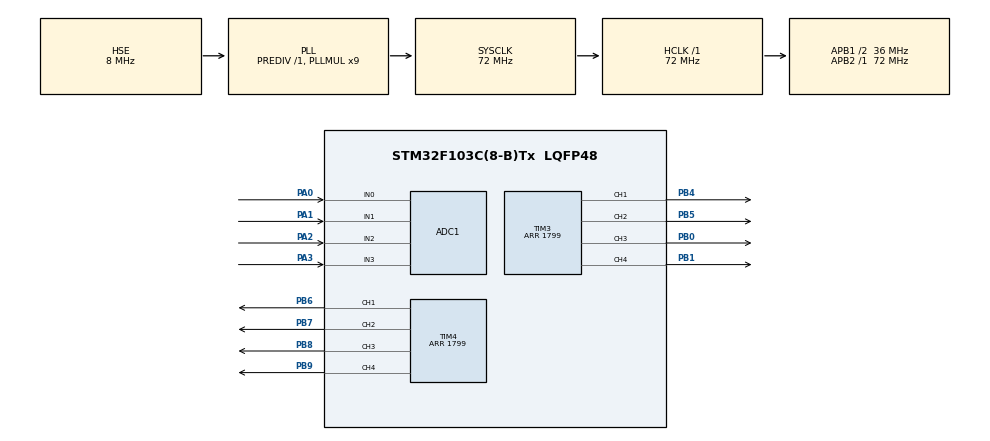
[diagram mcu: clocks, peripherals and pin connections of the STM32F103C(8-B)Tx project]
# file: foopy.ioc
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ADC1.Channel-0\#ChannelRegularConversion=ADC_CHANNEL_0
ADC1.Channel-4\#ChannelRegularConversion=ADC_CHANNEL_1
ADC1.Channel-5\#ChannelRegularConversion=ADC_CHANNEL_2
ADC1.Channel-6\#ChannelRegularConversion=ADC_CHANNEL_3
ADC1.ContinuousConvMode=ENABLE
ADC1.DataAlign=ADC_DATAALIGN_RIGHT
ADC1.DiscontinuousConvMode=DISABLE
ADC1.EnableAnalogWatchDog=false
ADC1.EnableRegularConversion=ENABLE
ADC1.ExternalTrigConv=ADC_SOFTWARE_START
ADC1.InjNumberOfConversion=0
ADC1.NbrOfConversion=4
ADC1.NbrOfConversionFlag=1
ADC1.Rank-0\#ChannelRegularConversion=1
ADC1.Rank-4\#ChannelRegularConversion=2
ADC1.Rank-5\#ChannelRegularConversion=3
ADC1.Rank-6\#ChannelRegularConversion=4
ADC1.SamplingTime-0\#ChannelRegularConversion=ADC_SAMPLETIME_28CYCLES_5
ADC1.SamplingTime-4\#ChannelRegularConversion=ADC_SAMPLETIME_28CYCLES_5
ADC1.SamplingTime-5\#ChannelRegularConversion=ADC_SAMPLETIME_28CYCLES_5
ADC1.SamplingTime-6\#ChannelRegularConversion=ADC_SAMPLETIME_28CYCLES_5
ADC1.ScanConvMode=ADC_SCAN_ENABLE
ADC1.master=1
Dma.ADC1.0.Direction=DMA_PERIPH_TO_MEMORY
Dma.ADC1.0.Instance=DMA1_Channel1
Dma.ADC1.0.MemDataAlignment=DMA_MDATAALIGN_WORD
Dma.ADC1.0.MemInc=DMA_MINC_ENABLE
Dma.ADC1.0.Mode=DMA_CIRCULAR
Dma.ADC1.0.PeriphDataAlignment=DMA_PDATAALIGN_WORD
Dma.ADC1.0.PeriphInc=DMA_PINC_DISABLE
Dma.ADC1.0.Priority=DMA_PRIORITY_LOW
Dma.Request0=ADC1
Mcu.Family=STM32F1
Mcu.Name=STM32F103C(8-B)Tx
Mcu.Package=LQFP48
NVIC.DMA1_Channel1_IRQn=true\:0\:0\:false\:false\:true\:false
NVIC.PriorityGroup=NVIC_PRIORITYGROUP_4
PA0-WKUP.Signal=ADCx_IN0
PA1.Signal=ADCx_IN1
PA13.Mode=Serial_Wire
PA13.Signal=SYS_JTMS-SWDIO
PA14.Mode=Serial_Wire
PA14.Signal=SYS_JTCK-SWCLK
PA2.Signal=ADCx_IN2
PA3.Signal=ADCx_IN3
PB0.Signal=S_TIM3_CH3
PB1.Signal=S_TIM3_CH4
PB4.Signal=S_TIM3_CH1
PB5.Signal=S_TIM3_CH2
PB6.Signal=S_TIM4_CH1
PB7.Signal=S_TIM4_CH2
PB8.Signal=S_TIM4_CH3
PB9.Signal=S_TIM4_CH4
PD0-OSC_IN.Mode=HSE-External-Oscillator
PD0-OSC_IN.Signal=RCC_OSC_IN
PD1-OSC_OUT.Mode=HSE-External-Oscillator
PD1-OSC_OUT.Signal=RCC_OSC_OUT
ProjectManager.HeapSize=0x200
ProjectManager.StackSize=0x400
ProjectManager.TargetToolchain=TrueSTUDIO
RCC.ADCPresc=RCC_ADCPCLK2_DIV6
RCC.AHBFreq_Value=72000000
RCC.APB1CLKDivider=RCC_HCLK_DIV2
RCC.APB1Freq_Value=36000000
RCC.APB1TimFreq_Value=72000000
RCC.APB2Freq_Value=72000000
RCC.APB2TimFreq_Value=72000000
RCC.HCLKFreq_Value=72000000
RCC.PLLMUL=RCC_PLL_MUL9
RCC.PLLSourceVirtual=RCC_PLLSOURCE_HSE
RCC.SYSCLKFreq_VALUE=72000000
RCC.SYSCLKSource=RCC_SYSCLKSOURCE_PLLCLK
RCC.USBFreq_Value=72000000
SH.ADCx_IN0.0=ADC1_IN0,IN0
SH.ADCx_IN1.0=ADC1_IN1,IN1
SH.ADCx_IN2.0=ADC1_IN2,IN2
SH.ADCx_IN3.0=ADC1_IN3,IN3
SH.S_TIM3_CH1.0=TIM3_CH1,PWM Generation1 CH1
SH.S_TIM3_CH2.0=TIM3_CH2,PWM Generation2 CH2
SH.S_TIM3_CH3.0=TIM3_CH3,PWM Generation3 CH3
SH.S_TIM3_CH4.0=TIM3_CH4,PWM Generation4 CH4
SH.S_TIM4_CH1.0=TIM4_CH1,PWM Generation1 CH1
SH.S_TIM4_CH2.0=TIM4_CH2,PWM Generation2 CH2
SH.S_TIM4_CH3.0=TIM4_CH3,PWM Generation3 CH3
SH.S_TIM4_CH4.0=TIM4_CH4,PWM Generation4 CH4
TIM3.Channel-PWM\ Generation1\ CH1=TIM_CHANNEL_1
TIM3.Channel-PWM\ Generation2\ CH2=TIM_CHANNEL_2
TIM3.Channel-PWM\ Generation3\ CH3=TIM_CHANNEL_3
TIM3.Channel-PWM\ Generation4\ CH4=TIM_CHANNEL_4
TIM3.OCFastMode_PWM-PWM\ Generation1\ CH1=TIM_OCFAST_ENABLE
TIM3.OCFastMode_PWM-PWM\ Generation2\ CH2=TIM_OCFAST_ENABLE
TIM3.OCFastMode_PWM-PWM\ Generation3\ CH3=TIM_OCFAST_ENABLE
TIM3.OCFastMode_PWM-PWM\ Generation4\ CH4=TIM_OCFAST_ENABLE
TIM3.Period=1799
TIM3.Pulse-PWM\ Generation1\ CH1=1360
TIM3.Pulse-PWM\ Generation2\ CH2=1020
TIM3.Pulse-PWM\ Generation4\ CH4=340
TIM4.Channel-PWM\ Generation1\ CH1=TIM_CHANNEL_1
TIM4.Channel-PWM\ Generation2\ CH2=TIM_CHANNEL_2
TIM4.Channel-PWM\ Generation3\ CH3=TIM_CHANNEL_3
TIM4.Channel-PWM\ Generation4\ CH4=TIM_CHANNEL_4
TIM4.OCFastMode_PWM-PWM\ Generation1\ CH1=TIM_OCFAST_ENABLE
TIM4.OCFastMode_PWM-PWM\ Generation2\ CH2=TIM_OCFAST_ENABLE
TIM4.OCFastMode_PWM-PWM\ Generation3\ CH3=TIM_OCFAST_ENABLE
TIM4.OCFastMode_PWM-PWM\ Generation4\ CH4=TIM_OCFAST_ENABLE
TIM4.Period=1799
TIM4.Pulse-PWM\ Generation1\ CH1=1360
TIM4.Pulse-PWM\ Generation2\ CH2=1020
TIM4.Pulse-PWM\ Generation3\ CH3=680
TIM4.Pulse-PWM\ Generation4\ CH4=340
board=custom

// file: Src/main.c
/**
  ******************************************************************************
  * @file           : main.c
  * @brief          : Main program body
  ******************************************************************************
  ** This notice applies to any and all portions of this file
  * that are not between comment pairs USER CODE BEGIN and
  * USER CODE END. Other portions of this file, whether
  * inserted by the user or by software development tools
  * are owned by their respective copyright owners.
  *
  * COPYRIGHT(c) 2018 STMicroelectronics
  *
  * Redistribution and use in source and binary forms, with or without modification,
  * are permitted provided that the following conditions are met:
  *   1. Redistributions of source code must retain the above copyright notice,
  *      this list of conditions and the following disclaimer.
  *   2. Redistributions in binary form must reproduce the above copyright notice,
  *      this list of conditions and the following disclaimer in the documentation
  *      and/or other materials provided with the distribution.
  *   3. Neither the name of STMicroelectronics nor the names of its contributors
  *      may be used to endorse or promote products derived from this software
  *      without specific prior written permission.
  *
  * THIS SOFTWARE IS PROVIDED BY THE COPYRIGHT HOLDERS AND CONTRIBUTORS "AS IS"
  * AND ANY EXPRESS OR IMPLIED WARRANTIES, INCLUDING, BUT NOT LIMITED TO, THE
  * IMPLIED WARRANTIES OF MERCHANTABILITY AND FITNESS FOR A PARTICULAR PURPOSE ARE
  * DISCLAIMED. IN NO EVENT SHALL THE COPYRIGHT HOLDER OR CONTRIBUTORS BE LIABLE
  * FOR ANY DIRECT, INDIRECT, INCIDENTAL, SPECIAL, EXEMPLARY, OR CONSEQUENTIAL
  * DAMAGES (INCLUDING, BUT NOT LIMITED TO, PROCUREMENT OF SUBSTITUTE GOODS OR
  * SERVICES; LOSS OF USE, DATA, OR PROFITS; OR BUSINESS INTERRUPTION) HOWEVER
  * CAUSED AND ON ANY THEORY OF LIABILITY, WHETHER IN CONTRACT, STRICT LIABILITY,
  * OR TORT (INCLUDING NEGLIGENCE OR OTHERWISE) ARISING IN ANY WAY OUT OF THE USE
  * OF THIS SOFTWARE, EVEN IF ADVISED OF THE POSSIBILITY OF SUCH DAMAGE.
  *
  ******************************************************************************
  */
#include "main.h"
#include "stm32f1xx_hal.h"

ADC_HandleTypeDef hadc1;
DMA_HandleTypeDef hdma_adc1;

TIM_HandleTypeDef htim3;
TIM_HandleTypeDef htim4;

/* USER CODE BEGIN PV */
/* Private variables ---------------------------------------------------------*/
#define channels 4
uint32_t adc[channels], adc_buff[channels];
float volts[channels];
const float k = (3.3 / 4095.0) * (4.7 / (4.7+100));
/* USER CODE END PV */

void SystemClock_Config(void);
static void MX_GPIO_Init(void);
static void MX_DMA_Init(void);
static void MX_ADC1_Init(void);
static void MX_TIM3_Init(void);
static void MX_TIM4_Init(void);

void HAL_TIM_MspPostInit(TIM_HandleTypeDef *htim);

/* USER CODE BEGIN PFP */
/* Private function prototypes -----------------------------------------------*/

/* USER CODE END PFP */

/* USER CODE BEGIN 0 */
void HAL_ADC_ConvHalfCpltCallback (ADC_HandleTypeDef *hadc)
{
	for (int i = 0; i < channels; i++){
		volts[i] = (float)adc_buff[i] * k;
	}
}

/* USER CODE END 0 */

int main(void)
{

  /* MCU Configuration----------------------------------------------------------*/

  /* Reset of all peripherals, Initializes the Flash interface and the Systick. */
  HAL_Init();

  /* Configure the system clock */
  SystemClock_Config();

  /* Initialize all configured peripherals */
  MX_GPIO_Init();
  MX_DMA_Init();
  MX_ADC1_Init();
  MX_TIM3_Init();
  MX_TIM4_Init();
  /* USER CODE BEGIN 2 */
  HAL_ADC_Init(&hadc1);
  HAL_ADCEx_Calibration_Start(&hadc1);
  HAL_ADC_Start_DMA(&hadc1,adc_buff,channels);

  HAL_TIM_PWM_Init(&htim3);
  HAL_TIM_PWM_Start(&htim3, TIM_CHANNEL_1);
  HAL_TIM_PWM_Start(&htim3, TIM_CHANNEL_2);
  HAL_TIM_PWM_Start(&htim3, TIM_CHANNEL_3);
  HAL_TIM_PWM_Start(&htim3, TIM_CHANNEL_4);

  HAL_TIM_PWM_Init(&htim4);
  HAL_TIM_PWM_Start(&htim4, TIM_CHANNEL_1);
  HAL_TIM_PWM_Start(&htim4, TIM_CHANNEL_2);
  HAL_TIM_PWM_Start(&htim4, TIM_CHANNEL_3);
  HAL_TIM_PWM_Start(&htim4, TIM_CHANNEL_4);
  /* USER CODE END 2 */

  /* Infinite loop */
  while (1)
  {

  	HAL_Delay(100);
  }

}

void SystemClock_Config(void)
{

  RCC_OscInitTypeDef RCC_OscInitStruct;
  RCC_ClkInitTypeDef RCC_ClkInitStruct;
  RCC_PeriphCLKInitTypeDef PeriphClkInit;

    /**Initializes the CPU, AHB and APB busses clocks
    */
  RCC_OscInitStruct.OscillatorType = RCC_OSCILLATORTYPE_HSE;
  RCC_OscInitStruct.HSEState = RCC_HSE_ON;
  RCC_OscInitStruct.HSEPredivValue = RCC_HSE_PREDIV_DIV1;
  RCC_OscInitStruct.HSIState = RCC_HSI_ON;
  RCC_OscInitStruct.PLL.PLLState = RCC_PLL_ON;
  RCC_OscInitStruct.PLL.PLLSource = RCC_PLLSOURCE_HSE;
  RCC_OscInitStruct.PLL.PLLMUL = RCC_PLL_MUL9;
  if (HAL_RCC_OscConfig(&RCC_OscInitStruct) != HAL_OK)
  {
    _Error_Handler(__FILE__, __LINE__);
  }

    /**Initializes the CPU, AHB and APB busses clocks
    */
  RCC_ClkInitStruct.ClockType = RCC_CLOCKTYPE_HCLK|RCC_CLOCKTYPE_SYSCLK
                              |RCC_CLOCKTYPE_PCLK1|RCC_CLOCKTYPE_PCLK2;
  RCC_ClkInitStruct.SYSCLKSource = RCC_SYSCLKSOURCE_PLLCLK;
  RCC_ClkInitStruct.AHBCLKDivider = RCC_SYSCLK_DIV1;
  RCC_ClkInitStruct.APB1CLKDivider = RCC_HCLK_DIV2;
  RCC_ClkInitStruct.APB2CLKDivider = RCC_HCLK_DIV1;

  if (HAL_RCC_ClockConfig(&RCC_ClkInitStruct, FLASH_LATENCY_2) != HAL_OK)
  {
    _Error_Handler(__FILE__, __LINE__);
  }

  PeriphClkInit.PeriphClockSelection = RCC_PERIPHCLK_ADC;
  PeriphClkInit.AdcClockSelection = RCC_ADCPCLK2_DIV6;
  if (HAL_RCCEx_PeriphCLKConfig(&PeriphClkInit) != HAL_OK)
  {
    _Error_Handler(__FILE__, __LINE__);
  }

    /**Configure the Systick interrupt time
    */
  HAL_SYSTICK_Config(HAL_RCC_GetHCLKFreq()/1000);

    /**Configure the Systick
    */
  HAL_SYSTICK_CLKSourceConfig(SYSTICK_CLKSOURCE_HCLK);

  /* SysTick_IRQn interrupt configuration */
  HAL_NVIC_SetPriority(SysTick_IRQn, 0, 0);
}

/* ADC1 init function */
static void MX_ADC1_Init(void)
{

  ADC_ChannelConfTypeDef sConfig;

    /**Common config
    */
  hadc1.Instance = ADC1;
  hadc1.Init.ScanConvMode = ADC_SCAN_ENABLE;
  hadc1.Init.ContinuousConvMode = ENABLE;
  hadc1.Init.DiscontinuousConvMode = DISABLE;
  hadc1.Init.ExternalTrigConv = ADC_SOFTWARE_START;
  hadc1.Init.DataAlign = ADC_DATAALIGN_RIGHT;
  hadc1.Init.NbrOfConversion = 4;
  if (HAL_ADC_Init(&hadc1) != HAL_OK)
  {
    _Error_Handler(__FILE__, __LINE__);
  }

    /**Configure Regular Channel
    */
  sConfig.Channel = ADC_CHANNEL_0;
  sConfig.Rank = ADC_REGULAR_RANK_1;
  sConfig.SamplingTime = ADC_SAMPLETIME_28CYCLES_5;
  if (HAL_ADC_ConfigChannel(&hadc1, &sConfig) != HAL_OK)
  {
    _Error_Handler(__FILE__, __LINE__);
  }

    /**Configure Regular Channel
    */
  sConfig.Channel = ADC_CHANNEL_1;
  sConfig.Rank = ADC_REGULAR_RANK_2;
  if (HAL_ADC_ConfigChannel(&hadc1, &sConfig) != HAL_OK)
  {
    _Error_Handler(__FILE__, __LINE__);
  }

    /**Configure Regular Channel
    */
  sConfig.Channel = ADC_CHANNEL_2;
  sConfig.Rank = ADC_REGULAR_RANK_3;
  if (HAL_ADC_ConfigChannel(&hadc1, &sConfig) != HAL_OK)
  {
    _Error_Handler(__FILE__, __LINE__);
  }

    /**Configure Regular Channel
    */
  sConfig.Channel = ADC_CHANNEL_3;
  sConfig.Rank = ADC_REGULAR_RANK_4;
  if (HAL_ADC_ConfigChannel(&hadc1, &sConfig) != HAL_OK)
  {
    _Error_Handler(__FILE__, __LINE__);
  }

}

/* TIM3 init function */
static void MX_TIM3_Init(void)
{

  TIM_MasterConfigTypeDef sMasterConfig;
  TIM_OC_InitTypeDef sConfigOC;

  htim3.Instance = TIM3;
  htim3.Init.Prescaler = 0;
  htim3.Init.CounterMode = TIM_COUNTERMODE_UP;
  htim3.Init.Period = 1799;
  htim3.Init.ClockDivision = TIM_CLOCKDIVISION_DIV1;
  htim3.Init.AutoReloadPreload = TIM_AUTORELOAD_PRELOAD_DISABLE;
  if (HAL_TIM_PWM_Init(&htim3) != HAL_OK)
  {
    _Error_Handler(__FILE__, __LINE__);
  }

  sMasterConfig.MasterOutputTrigger = TIM_TRGO_RESET;
  sMasterConfig.MasterSlaveMode = TIM_MASTERSLAVEMODE_DISABLE;
  if (HAL_TIMEx_MasterConfigSynchronization(&htim3, &sMasterConfig) != HAL_OK)
  {
    _Error_Handler(__FILE__, __LINE__);
  }

  sConfigOC.OCMode = TIM_OCMODE_PWM1;
  sConfigOC.Pulse = 1360;
  sConfigOC.OCPolarity = TIM_OCPOLARITY_HIGH;
  sConfigOC.OCFastMode = TIM_OCFAST_ENABLE;
  if (HAL_TIM_PWM_ConfigChannel(&htim3, &sConfigOC, TIM_CHANNEL_1) != HAL_OK)
  {
    _Error_Handler(__FILE__, __LINE__);
  }

  sConfigOC.Pulse = 1020;
  if (HAL_TIM_PWM_ConfigChannel(&htim3, &sConfigOC, TIM_CHANNEL_2) != HAL_OK)
  {
    _Error_Handler(__FILE__, __LINE__);
  }

  sConfigOC.Pulse = 0;
  if (HAL_TIM_PWM_ConfigChannel(&htim3, &sConfigOC, TIM_CHANNEL_3) != HAL_OK)
  {
    _Error_Handler(__FILE__, __LINE__);
  }

  sConfigOC.Pulse = 340;
  if (HAL_TIM_PWM_ConfigChannel(&htim3, &sConfigOC, TIM_CHANNEL_4) != HAL_OK)
  {
    _Error_Handler(__FILE__, __LINE__);
  }

  HAL_TIM_MspPostInit(&htim3);

}

/* TIM4 init function */
static void MX_TIM4_Init(void)
{

  TIM_MasterConfigTypeDef sMasterConfig;
  TIM_OC_InitTypeDef sConfigOC;

  htim4.Instance = TIM4;
  htim4.Init.Prescaler = 0;
  htim4.Init.CounterMode = TIM_COUNTERMODE_UP;
  htim4.Init.Period = 1799;
  htim4.Init.ClockDivision = TIM_CLOCKDIVISION_DIV1;
  htim4.Init.AutoReloadPreload = TIM_AUTORELOAD_PRELOAD_DISABLE;
  if (HAL_TIM_PWM_Init(&htim4) != HAL_OK)
  {
    _Error_Handler(__FILE__, __LINE__);
  }

  sMasterConfig.MasterOutputTrigger = TIM_TRGO_RESET;
  sMasterConfig.MasterSlaveMode = TIM_MASTERSLAVEMODE_DISABLE;
  if (HAL_TIMEx_MasterConfigSynchronization(&htim4, &sMasterConfig) != HAL_OK)
  {
    _Error_Handler(__FILE__, __LINE__);
  }

  sConfigOC.OCMode = TIM_OCMODE_PWM1;
  sConfigOC.Pulse = 1360;
  sConfigOC.OCPolarity = TIM_OCPOLARITY_HIGH;
  sConfigOC.OCFastMode = TIM_OCFAST_ENABLE;
  if (HAL_TIM_PWM_ConfigChannel(&htim4, &sConfigOC, TIM_CHANNEL_1) != HAL_OK)
  {
    _Error_Handler(__FILE__, __LINE__);
  }

  sConfigOC.Pulse = 1020;
  if (HAL_TIM_PWM_ConfigChannel(&htim4, &sConfigOC, TIM_CHANNEL_2) != HAL_OK)
  {
    _Error_Handler(__FILE__, __LINE__);
  }

  sConfigOC.Pulse = 680;
  if (HAL_TIM_PWM_ConfigChannel(&htim4, &sConfigOC, TIM_CHANNEL_3) != HAL_OK)
  {
    _Error_Handler(__FILE__, __LINE__);
  }

  sConfigOC.Pulse = 340;
  if (HAL_TIM_PWM_ConfigChannel(&htim4, &sConfigOC, TIM_CHANNEL_4) != HAL_OK)
  {
    _Error_Handler(__FILE__, __LINE__);
  }

  HAL_TIM_MspPostInit(&htim4);

}

static void MX_DMA_Init(void)
{
  /* DMA controller clock enable */
  __HAL_RCC_DMA1_CLK_ENABLE();

  /* DMA interrupt init */
  /* DMA1_Channel1_IRQn interrupt configuration */
  HAL_NVIC_SetPriority(DMA1_Channel1_IRQn, 0, 0);
  HAL_NVIC_EnableIRQ(DMA1_Channel1_IRQn);

}

/** Configure pins as
        * Analog
        * Input
        * Output
        * EVENT_OUT
        * EXTI
*/
static void MX_GPIO_Init(void)
{

  /* GPIO Ports Clock Enable */
  __HAL_RCC_GPIOD_CLK_ENABLE();
  __HAL_RCC_GPIOA_CLK_ENABLE();
  __HAL_RCC_GPIOB_CLK_ENABLE();

}

void _Error_Handler(char *file, int line)
{
  while(1)
  {
  }
}

/************************ (C) COPYRIGHT STMicroelectronics *****END OF FILE****/
